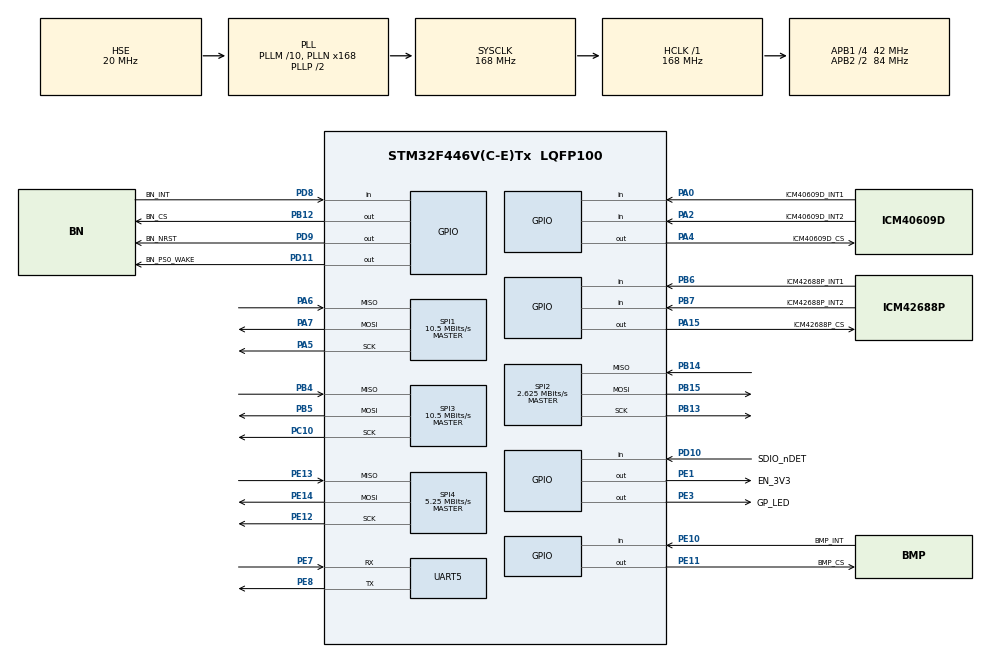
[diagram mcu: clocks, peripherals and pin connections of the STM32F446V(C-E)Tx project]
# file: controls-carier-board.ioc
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Mcu.Family=STM32F4
Mcu.Name=STM32F446V(C-E)Tx
Mcu.Package=LQFP100
NVIC.PriorityGroup=NVIC_PRIORITYGROUP_4
PA0-WKUP.GPIO_Label=ICM40609D_INT1
PA0-WKUP.Signal=GPIO_Input
PA13.Mode=Trace_Asynchronous_SW
PA13.Signal=SYS_JTMS-SWDIO
PA14.Mode=Trace_Asynchronous_SW
PA14.Signal=SYS_JTCK-SWCLK
PA15.GPIO_Label=ICM42688P_CS
PA15.Signal=GPIO_Output
PA2.GPIO_Label=ICM40609D_INT2
PA2.Signal=GPIO_Input
PA4.GPIO_Label=ICM40609D_CS
PA4.Signal=GPIO_Output
PA5.Mode=Full_Duplex_Master
PA5.Signal=SPI1_SCK
PA6.Mode=Full_Duplex_Master
PA6.Signal=SPI1_MISO
PA7.Mode=Full_Duplex_Master
PA7.Signal=SPI1_MOSI
PB1.Signal=SDIO_D2
PB12.GPIO_Label=BN_CS
PB12.GPIO_Speed=GPIO_SPEED_FREQ_VERY_HIGH
PB12.Signal=GPIO_Output
PB13.Mode=Full_Duplex_Master
PB13.Signal=SPI2_SCK
PB14.Mode=Full_Duplex_Master
PB14.Signal=SPI2_MISO
PB15.Mode=Full_Duplex_Master
PB15.Signal=SPI2_MOSI
PB2.Signal=SDIO_CK
PB3.Mode=Trace_Asynchronous_SW
PB3.Signal=SYS_JTDO-SWO
PB4.Mode=Full_Duplex_Master
PB4.Signal=SPI3_MISO
PB5.Mode=Full_Duplex_Master
PB5.Signal=SPI3_MOSI
PB6.GPIO_Label=ICM42688P_INT1
PB6.Signal=GPIO_Input
PB7.GPIO_Label=ICM42688P_INT2
PB7.Signal=GPIO_Input
PB8.Signal=CAN1_RX
PB9.Signal=CAN1_TX
PC10.Mode=Full_Duplex_Master
PC10.Signal=SPI3_SCK
PC11.Signal=SDIO_D3
PC14-OSC32_IN.Mode=LSE-External-Oscillator
PC14-OSC32_IN.Signal=RCC_OSC32_IN
PC15-OSC32_OUT.Mode=LSE-External-Oscillator
PC15-OSC32_OUT.Signal=RCC_OSC32_OUT
PC8.Signal=SDIO_D0
PC9.Signal=SDIO_D1
PD10.GPIO_Label=SDIO_nDET
PD10.Signal=GPIO_Input
PD11.GPIO_Label=BN_PS0_WAKE
PD11.GPIO_Speed=GPIO_SPEED_FREQ_VERY_HIGH
PD11.Signal=GPIO_Output
PD2.Signal=SDIO_CMD
PD8.GPIO_Label=BN_INT
PD8.GPIO_PuPd=GPIO_PULLUP
PD8.Signal=GPIO_Input
PD9.GPIO_Label=BN_NRST
PD9.GPIO_Speed=GPIO_SPEED_FREQ_VERY_HIGH
PD9.Signal=GPIO_Output
PE1.GPIO_Label=EN_3V3
PE1.GPIO_PuPd=GPIO_PULLDOWN
PE1.Signal=GPIO_Output
PE10.GPIO_Label=BMP_INT
PE10.Signal=GPIO_Input
PE11.GPIO_Label=BMP_CS
PE11.Signal=GPIO_Output
PE12.Mode=Full_Duplex_Master
PE12.Signal=SPI4_SCK
PE13.Mode=Full_Duplex_Master
PE13.Signal=SPI4_MISO
PE14.Mode=Full_Duplex_Master
PE14.Signal=SPI4_MOSI
PE3.GPIO_Label=GP_LED
PE3.Signal=GPIO_Output
PE7.Mode=Asynchronous
PE7.Signal=UART5_RX
PE8.Mode=Asynchronous
PE8.Signal=UART5_TX
PH0-OSC_IN.Mode=HSE-External-Oscillator
PH0-OSC_IN.Signal=RCC_OSC_IN
PH1-OSC_OUT.Mode=HSE-External-Oscillator
PH1-OSC_OUT.Signal=RCC_OSC_OUT
ProjectManager.HeapSize=0x400
ProjectManager.StackSize=0x800
ProjectManager.TargetToolchain=Makefile
RCC.AHBFreq_Value=168000000
RCC.APB1CLKDivider=RCC_HCLK_DIV4
RCC.APB1Freq_Value=42000000
RCC.APB1TimFreq_Value=84000000
RCC.APB2CLKDivider=RCC_HCLK_DIV2
RCC.APB2Freq_Value=84000000
RCC.APB2TimFreq_Value=168000000
RCC.CortexFreq_Value=168000000
RCC.HCLKFreq_Value=168000000
RCC.HSE_VALUE=20000000
RCC.PLLM=10
RCC.PLLN=168
RCC.PLLQ=7
RCC.PLLSourceVirtual=RCC_PLLSOURCE_HSE
RCC.SYSCLKFreq_VALUE=168000000
RCC.SYSCLKSource=RCC_SYSCLKSOURCE_PLLCLK
RCC.USBFreq_Value=48000000
RCC.VCOOutputFreq_Value=336000000
SPI1.BaudRatePrescaler=SPI_BAUDRATEPRESCALER_8
SPI1.CLKPhase=SPI_PHASE_2EDGE
SPI1.CLKPolarity=SPI_POLARITY_HIGH
SPI1.CalculateBaudRate=10.5 MBits/s
SPI1.Direction=SPI_DIRECTION_2LINES
SPI1.Mode=SPI_MODE_MASTER
SPI1.VirtualType=VM_MASTER
SPI2.BaudRatePrescaler=SPI_BAUDRATEPRESCALER_16
SPI2.CLKPhase=SPI_PHASE_2EDGE
SPI2.CLKPolarity=SPI_POLARITY_HIGH
SPI2.CalculateBaudRate=2.625 MBits/s
SPI2.Direction=SPI_DIRECTION_2LINES
SPI2.Mode=SPI_MODE_MASTER
SPI2.VirtualType=VM_MASTER
SPI3.BaudRatePrescaler=SPI_BAUDRATEPRESCALER_4
SPI3.CLKPhase=SPI_PHASE_2EDGE
SPI3.CLKPolarity=SPI_POLARITY_HIGH
SPI3.CalculateBaudRate=10.5 MBits/s
SPI3.Direction=SPI_DIRECTION_2LINES
SPI3.Mode=SPI_MODE_MASTER
SPI3.VirtualType=VM_MASTER
SPI4.BaudRatePrescaler=SPI_BAUDRATEPRESCALER_16
SPI4.CLKPhase=SPI_PHASE_2EDGE
SPI4.CLKPolarity=SPI_POLARITY_HIGH
SPI4.CalculateBaudRate=5.25 MBits/s
SPI4.Direction=SPI_DIRECTION_2LINES
SPI4.Mode=SPI_MODE_MASTER
SPI4.VirtualType=VM_MASTER
UART5.VirtualMode=Asynchronous
board=custom

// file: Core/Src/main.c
/* USER CODE BEGIN Header */
/**
  ******************************************************************************
  * @file           : main.c
  * @brief          : Main program body
  ******************************************************************************
  * @attention
  *
  * Copyright (c) 2024 STMicroelectronics.
  * All rights reserved.
  *
  * This software is licensed under terms that can be found in the LICENSE file
  * in the root directory of this software component.
  * If no LICENSE file comes with this software, it is provided AS-IS.
  *
  ******************************************************************************
  */
/* USER CODE END Header */
#include "main.h"

/* USER CODE BEGIN Includes */
#include <printf.h>
#include "icm42688p.h"
#include "icm40609d.h"
#include "icm_driver.h"
/* USER CODE END Includes */

UART_HandleTypeDef huart5;

/* USER CODE BEGIN PV */
float roll, pitch, yaw;
ICM_Config_t icm40609d_cfg = {
  .id = ICM40609D_ID,
  .hal.spi = SPI1,
  .hal.csPort = ICM40609D_CS_GPIO_Port,
  .hal.csPin = ICM40609D_CS_Pin,
  .hal.int1Port = ICM40609D_INT1_GPIO_Port,
  .hal.int1Pin = ICM40609D_INT1_Pin,
  .hal.int2Port = ICM40609D_INT2_GPIO_Port,
  .hal.int2Pin = ICM40609D_INT2_Pin,
};

ICM_Config_t icm42688p_cfg = {
  .id = ICM42688P_ID,
  .hal.spi = SPI3,
  .hal.csPort = ICM42688P_CS_GPIO_Port,
  .hal.csPin = ICM42688P_CS_Pin,
  .hal.int1Port = ICM42688P_INT1_GPIO_Port,
  .hal.int1Pin = ICM42688P_INT1_Pin,
  .hal.int2Port = ICM42688P_INT2_GPIO_Port,
  .hal.int2Pin = ICM42688P_INT2_Pin,
};
/* USER CODE END PV */

void SystemClock_Config(void);
static void MX_GPIO_Init(void);
static void MX_UART5_Init(void);
static void MX_SPI1_Init(void);
static void MX_SPI2_Init(void);
static void MX_SPI3_Init(void);
static void MX_SPI4_Init(void);
/* USER CODE BEGIN PFP */
void sendCsv(ICM_Config_t *icm);
void sendVerbose(ICM_Config_t* icm);
/* USER CODE END PFP */

int main(void)
{

  /* MCU Configuration--------------------------------------------------------*/

  /* Reset of all peripherals, Initializes the Flash interface and the Systick. */
  HAL_Init();

  /* Configure the system clock */
  SystemClock_Config();

  /* Initialize all configured peripherals */
  MX_GPIO_Init();
  MX_UART5_Init();
  MX_SPI1_Init();
  MX_SPI2_Init();
  MX_SPI3_Init();
  MX_SPI4_Init();
  /* USER CODE BEGIN 2 */

  printf(PF_SWO, "UART Retarget working.\r\n");

  /* Turns on power to the sensor board */
  LL_GPIO_SetOutputPin(EN_3V3_GPIO_Port, EN_3V3_Pin);

  uint8_t ret = ICM_init(&icm42688p_cfg);
  ret |= ICM_init(&icm40609d_cfg);

  if (ret != ICM_OK) {
    printf(PF_SWO, "ICM init failed\r\n");
    Error_Handler();
  }
  else
  {
    printf(PF_SWO, "ICM init completed\r\n");
  }

  ICM_calibGyro(&icm42688p_cfg);
  ICM_calibGyro(&icm40609d_cfg);
  // printf(PF_DEF, "688 Gyro Bias X Y Z: %0.2f %0.2f %0.2f\r\n", ICM_getGyroBiasX(&icm42688p_cfg), ICM_getGyroBiasY(&icm42688p_cfg), ICM_getGyroBiasZ(&icm42688p_cfg));
  // printf(PF_DEF, "609 Gyro Bias X Y Z: %0.2f %0.2f %0.2f\r\n", ICM_getGyroBiasX(&icm40609d_cfg), ICM_getGyroBiasY(&icm40609d_cfg), ICM_getGyroBiasZ(&icm40609d_cfg));

  /* USER CODE END 2 */

  /* Infinite loop */
  while (1)
  {

    /* USER CODE BEGIN 3 */
    ICM_updateAllData(&icm42688p_cfg);
    sendCsv(&icm42688p_cfg);
    HAL_Delay(150);
  }
  /* USER CODE END 3 */
}

void SystemClock_Config(void)
{
  RCC_OscInitTypeDef RCC_OscInitStruct = {0};
  RCC_ClkInitTypeDef RCC_ClkInitStruct = {0};

  /** Configure the main internal regulator output voltage
  */
  __HAL_RCC_PWR_CLK_ENABLE();
  __HAL_PWR_VOLTAGESCALING_CONFIG(PWR_REGULATOR_VOLTAGE_SCALE1);

  /** Initializes the RCC Oscillators according to the specified parameters
  * in the RCC_OscInitTypeDef structure.
  */
  RCC_OscInitStruct.OscillatorType = RCC_OSCILLATORTYPE_HSE;
  RCC_OscInitStruct.HSEState = RCC_HSE_ON;
  RCC_OscInitStruct.PLL.PLLState = RCC_PLL_ON;
  RCC_OscInitStruct.PLL.PLLSource = RCC_PLLSOURCE_HSE;
  RCC_OscInitStruct.PLL.PLLM = 10;
  RCC_OscInitStruct.PLL.PLLN = 168;
  RCC_OscInitStruct.PLL.PLLP = RCC_PLLP_DIV2;
  RCC_OscInitStruct.PLL.PLLQ = 7;
  RCC_OscInitStruct.PLL.PLLR = 2;
  if (HAL_RCC_OscConfig(&RCC_OscInitStruct) != HAL_OK)
  {
    Error_Handler();
  }

  /** Initializes the CPU, AHB and APB buses clocks
  */
  RCC_ClkInitStruct.ClockType = RCC_CLOCKTYPE_HCLK|RCC_CLOCKTYPE_SYSCLK
                              |RCC_CLOCKTYPE_PCLK1|RCC_CLOCKTYPE_PCLK2;
  RCC_ClkInitStruct.SYSCLKSource = RCC_SYSCLKSOURCE_PLLCLK;
  RCC_ClkInitStruct.AHBCLKDivider = RCC_SYSCLK_DIV1;
  RCC_ClkInitStruct.APB1CLKDivider = RCC_HCLK_DIV4;
  RCC_ClkInitStruct.APB2CLKDivider = RCC_HCLK_DIV2;

  if (HAL_RCC_ClockConfig(&RCC_ClkInitStruct, FLASH_LATENCY_5) != HAL_OK)
  {
    Error_Handler();
  }
}

static void MX_SPI1_Init(void)
{

  LL_SPI_InitTypeDef SPI_InitStruct = {0};

  LL_GPIO_InitTypeDef GPIO_InitStruct = {0};

  /* Peripheral clock enable */
  LL_APB2_GRP1_EnableClock(LL_APB2_GRP1_PERIPH_SPI1);

  LL_AHB1_GRP1_EnableClock(LL_AHB1_GRP1_PERIPH_GPIOA);
  /**SPI1 GPIO Configuration
  PA5   ------> SPI1_SCK
  PA6   ------> SPI1_MISO
  PA7   ------> SPI1_MOSI
  */
  GPIO_InitStruct.Pin = LL_GPIO_PIN_5|LL_GPIO_PIN_6|LL_GPIO_PIN_7;
  GPIO_InitStruct.Mode = LL_GPIO_MODE_ALTERNATE;
  GPIO_InitStruct.Speed = LL_GPIO_SPEED_FREQ_VERY_HIGH;
  GPIO_InitStruct.OutputType = LL_GPIO_OUTPUT_PUSHPULL;
  GPIO_InitStruct.Pull = LL_GPIO_PULL_NO;
  GPIO_InitStruct.Alternate = LL_GPIO_AF_5;
  LL_GPIO_Init(GPIOA, &GPIO_InitStruct);

  /* SPI1 parameter configuration*/
  SPI_InitStruct.TransferDirection = LL_SPI_FULL_DUPLEX;
  SPI_InitStruct.Mode = LL_SPI_MODE_MASTER;
  SPI_InitStruct.DataWidth = LL_SPI_DATAWIDTH_8BIT;
  SPI_InitStruct.ClockPolarity = LL_SPI_POLARITY_HIGH;
  SPI_InitStruct.ClockPhase = LL_SPI_PHASE_2EDGE;
  SPI_InitStruct.NSS = LL_SPI_NSS_SOFT;
  SPI_InitStruct.BaudRate = LL_SPI_BAUDRATEPRESCALER_DIV8;
  SPI_InitStruct.BitOrder = LL_SPI_MSB_FIRST;
  SPI_InitStruct.CRCCalculation = LL_SPI_CRCCALCULATION_DISABLE;
  SPI_InitStruct.CRCPoly = 10;
  LL_SPI_Init(SPI1, &SPI_InitStruct);
  LL_SPI_SetStandard(SPI1, LL_SPI_PROTOCOL_MOTOROLA);
  /* USER CODE BEGIN SPI1_Init 2 */
  LL_SPI_Enable(SPI1);
  /* USER CODE END SPI1_Init 2 */

}

static void MX_SPI2_Init(void)
{

  LL_SPI_InitTypeDef SPI_InitStruct = {0};

  LL_GPIO_InitTypeDef GPIO_InitStruct = {0};

  /* Peripheral clock enable */
  LL_APB1_GRP1_EnableClock(LL_APB1_GRP1_PERIPH_SPI2);

  LL_AHB1_GRP1_EnableClock(LL_AHB1_GRP1_PERIPH_GPIOB);
  /**SPI2 GPIO Configuration
  PB13   ------> SPI2_SCK
  PB14   ------> SPI2_MISO
  PB15   ------> SPI2_MOSI
  */
  GPIO_InitStruct.Pin = LL_GPIO_PIN_13|LL_GPIO_PIN_14|LL_GPIO_PIN_15;
  GPIO_InitStruct.Mode = LL_GPIO_MODE_ALTERNATE;
  GPIO_InitStruct.Speed = LL_GPIO_SPEED_FREQ_VERY_HIGH;
  GPIO_InitStruct.OutputType = LL_GPIO_OUTPUT_PUSHPULL;
  GPIO_InitStruct.Pull = LL_GPIO_PULL_NO;
  GPIO_InitStruct.Alternate = LL_GPIO_AF_5;
  LL_GPIO_Init(GPIOB, &GPIO_InitStruct);

  /* SPI2 parameter configuration*/
  SPI_InitStruct.TransferDirection = LL_SPI_FULL_DUPLEX;
  SPI_InitStruct.Mode = LL_SPI_MODE_MASTER;
  SPI_InitStruct.DataWidth = LL_SPI_DATAWIDTH_8BIT;
  SPI_InitStruct.ClockPolarity = LL_SPI_POLARITY_HIGH;
  SPI_InitStruct.ClockPhase = LL_SPI_PHASE_2EDGE;
  SPI_InitStruct.NSS = LL_SPI_NSS_SOFT;
  SPI_InitStruct.BaudRate = LL_SPI_BAUDRATEPRESCALER_DIV16;
  SPI_InitStruct.BitOrder = LL_SPI_MSB_FIRST;
  SPI_InitStruct.CRCCalculation = LL_SPI_CRCCALCULATION_DISABLE;
  SPI_InitStruct.CRCPoly = 10;
  LL_SPI_Init(SPI2, &SPI_InitStruct);
  LL_SPI_SetStandard(SPI2, LL_SPI_PROTOCOL_MOTOROLA);
  /* USER CODE BEGIN SPI2_Init 2 */
  LL_SPI_Enable(SPI2);
  /* USER CODE END SPI2_Init 2 */

}

static void MX_SPI3_Init(void)
{

  LL_SPI_InitTypeDef SPI_InitStruct = {0};

  LL_GPIO_InitTypeDef GPIO_InitStruct = {0};

  /* Peripheral clock enable */
  LL_APB1_GRP1_EnableClock(LL_APB1_GRP1_PERIPH_SPI3);

  LL_AHB1_GRP1_EnableClock(LL_AHB1_GRP1_PERIPH_GPIOC);
  LL_AHB1_GRP1_EnableClock(LL_AHB1_GRP1_PERIPH_GPIOB);
  /**SPI3 GPIO Configuration
  PC10   ------> SPI3_SCK
  PB4   ------> SPI3_MISO
  PB5   ------> SPI3_MOSI
  */
  GPIO_InitStruct.Pin = LL_GPIO_PIN_10;
  GPIO_InitStruct.Mode = LL_GPIO_MODE_ALTERNATE;
  GPIO_InitStruct.Speed = LL_GPIO_SPEED_FREQ_VERY_HIGH;
  GPIO_InitStruct.OutputType = LL_GPIO_OUTPUT_PUSHPULL;
  GPIO_InitStruct.Pull = LL_GPIO_PULL_NO;
  GPIO_InitStruct.Alternate = LL_GPIO_AF_6;
  LL_GPIO_Init(GPIOC, &GPIO_InitStruct);

  GPIO_InitStruct.Pin = LL_GPIO_PIN_4|LL_GPIO_PIN_5;
  GPIO_InitStruct.Mode = LL_GPIO_MODE_ALTERNATE;
  GPIO_InitStruct.Speed = LL_GPIO_SPEED_FREQ_VERY_HIGH;
  GPIO_InitStruct.OutputType = LL_GPIO_OUTPUT_PUSHPULL;
  GPIO_InitStruct.Pull = LL_GPIO_PULL_NO;
  GPIO_InitStruct.Alternate = LL_GPIO_AF_6;
  LL_GPIO_Init(GPIOB, &GPIO_InitStruct);

  /* SPI3 parameter configuration*/
  SPI_InitStruct.TransferDirection = LL_SPI_FULL_DUPLEX;
  SPI_InitStruct.Mode = LL_SPI_MODE_MASTER;
  SPI_InitStruct.DataWidth = LL_SPI_DATAWIDTH_8BIT;
  SPI_InitStruct.ClockPolarity = LL_SPI_POLARITY_HIGH;
  SPI_InitStruct.ClockPhase = LL_SPI_PHASE_2EDGE;
  SPI_InitStruct.NSS = LL_SPI_NSS_SOFT;
  SPI_InitStruct.BaudRate = LL_SPI_BAUDRATEPRESCALER_DIV4;
  SPI_InitStruct.BitOrder = LL_SPI_MSB_FIRST;
  SPI_InitStruct.CRCCalculation = LL_SPI_CRCCALCULATION_DISABLE;
  SPI_InitStruct.CRCPoly = 10;
  LL_SPI_Init(SPI3, &SPI_InitStruct);
  LL_SPI_SetStandard(SPI3, LL_SPI_PROTOCOL_MOTOROLA);
  /* USER CODE BEGIN SPI3_Init 2 */
  LL_SPI_Enable(SPI3);
  /* USER CODE END SPI3_Init 2 */

}

static void MX_SPI4_Init(void)
{

  LL_SPI_InitTypeDef SPI_InitStruct = {0};

  LL_GPIO_InitTypeDef GPIO_InitStruct = {0};

  /* Peripheral clock enable */
  LL_APB2_GRP1_EnableClock(LL_APB2_GRP1_PERIPH_SPI4);

  LL_AHB1_GRP1_EnableClock(LL_AHB1_GRP1_PERIPH_GPIOE);
  /**SPI4 GPIO Configuration
  PE12   ------> SPI4_SCK
  PE13   ------> SPI4_MISO
  PE14   ------> SPI4_MOSI
  */
  GPIO_InitStruct.Pin = LL_GPIO_PIN_12|LL_GPIO_PIN_13|LL_GPIO_PIN_14;
  GPIO_InitStruct.Mode = LL_GPIO_MODE_ALTERNATE;
  GPIO_InitStruct.Speed = LL_GPIO_SPEED_FREQ_VERY_HIGH;
  GPIO_InitStruct.OutputType = LL_GPIO_OUTPUT_PUSHPULL;
  GPIO_InitStruct.Pull = LL_GPIO_PULL_NO;
  GPIO_InitStruct.Alternate = LL_GPIO_AF_5;
  LL_GPIO_Init(GPIOE, &GPIO_InitStruct);

  /* SPI4 parameter configuration*/
  SPI_InitStruct.TransferDirection = LL_SPI_FULL_DUPLEX;
  SPI_InitStruct.Mode = LL_SPI_MODE_MASTER;
  SPI_InitStruct.DataWidth = LL_SPI_DATAWIDTH_8BIT;
  SPI_InitStruct.ClockPolarity = LL_SPI_POLARITY_HIGH;
  SPI_InitStruct.ClockPhase = LL_SPI_PHASE_2EDGE;
  SPI_InitStruct.NSS = LL_SPI_NSS_SOFT;
  SPI_InitStruct.BaudRate = LL_SPI_BAUDRATEPRESCALER_DIV16;
  SPI_InitStruct.BitOrder = LL_SPI_MSB_FIRST;
  SPI_InitStruct.CRCCalculation = LL_SPI_CRCCALCULATION_DISABLE;
  SPI_InitStruct.CRCPoly = 10;
  LL_SPI_Init(SPI4, &SPI_InitStruct);
  LL_SPI_SetStandard(SPI4, LL_SPI_PROTOCOL_MOTOROLA);

}

static void MX_UART5_Init(void)
{

  huart5.Instance = UART5;
  huart5.Init.BaudRate = 115200;
  huart5.Init.WordLength = UART_WORDLENGTH_8B;
  huart5.Init.StopBits = UART_STOPBITS_1;
  huart5.Init.Parity = UART_PARITY_NONE;
  huart5.Init.Mode = UART_MODE_TX_RX;
  huart5.Init.HwFlowCtl = UART_HWCONTROL_NONE;
  huart5.Init.OverSampling = UART_OVERSAMPLING_16;
  if (HAL_UART_Init(&huart5) != HAL_OK)
  {
    Error_Handler();
  }

}

static void MX_GPIO_Init(void)
{
  LL_GPIO_InitTypeDef GPIO_InitStruct = {0};

  /* GPIO Ports Clock Enable */
  LL_AHB1_GRP1_EnableClock(LL_AHB1_GRP1_PERIPH_GPIOE);
  LL_AHB1_GRP1_EnableClock(LL_AHB1_GRP1_PERIPH_GPIOC);
  LL_AHB1_GRP1_EnableClock(LL_AHB1_GRP1_PERIPH_GPIOH);
  LL_AHB1_GRP1_EnableClock(LL_AHB1_GRP1_PERIPH_GPIOA);
  LL_AHB1_GRP1_EnableClock(LL_AHB1_GRP1_PERIPH_GPIOB);
  LL_AHB1_GRP1_EnableClock(LL_AHB1_GRP1_PERIPH_GPIOD);

  /**/
  LL_GPIO_ResetOutputPin(GPIOE, GP_LED_Pin|BMP_CS_Pin|EN_3V3_Pin);

  /**/
  LL_GPIO_ResetOutputPin(GPIOA, ICM40609D_CS_Pin|ICM42688P_CS_Pin);

  /**/
  LL_GPIO_ResetOutputPin(BN_CS_GPIO_Port, BN_CS_Pin);

  /**/
  LL_GPIO_ResetOutputPin(GPIOD, BN_NRST_Pin|BN_PS0_WAKE_Pin);

  /**/
  GPIO_InitStruct.Pin = GP_LED_Pin|BMP_CS_Pin;
  GPIO_InitStruct.Mode = LL_GPIO_MODE_OUTPUT;
  GPIO_InitStruct.Speed = LL_GPIO_SPEED_FREQ_LOW;
  GPIO_InitStruct.OutputType = LL_GPIO_OUTPUT_PUSHPULL;
  GPIO_InitStruct.Pull = LL_GPIO_PULL_NO;
  LL_GPIO_Init(GPIOE, &GPIO_InitStruct);

  /**/
  GPIO_InitStruct.Pin = ICM40609D_INT1_Pin|ICM40609D_INT2_Pin;
  GPIO_InitStruct.Mode = LL_GPIO_MODE_INPUT;
  GPIO_InitStruct.Pull = LL_GPIO_PULL_NO;
  LL_GPIO_Init(GPIOA, &GPIO_InitStruct);

  /**/
  GPIO_InitStruct.Pin = ICM40609D_CS_Pin|ICM42688P_CS_Pin;
  GPIO_InitStruct.Mode = LL_GPIO_MODE_OUTPUT;
  GPIO_InitStruct.Speed = LL_GPIO_SPEED_FREQ_LOW;
  GPIO_InitStruct.OutputType = LL_GPIO_OUTPUT_PUSHPULL;
  GPIO_InitStruct.Pull = LL_GPIO_PULL_NO;
  LL_GPIO_Init(GPIOA, &GPIO_InitStruct);

  /**/
  GPIO_InitStruct.Pin = LL_GPIO_PIN_1|LL_GPIO_PIN_2;
  GPIO_InitStruct.Mode = LL_GPIO_MODE_ALTERNATE;
  GPIO_InitStruct.Speed = LL_GPIO_SPEED_FREQ_VERY_HIGH;
  GPIO_InitStruct.OutputType = LL_GPIO_OUTPUT_PUSHPULL;
  GPIO_InitStruct.Pull = LL_GPIO_PULL_NO;
  GPIO_InitStruct.Alternate = LL_GPIO_AF_12;
  LL_GPIO_Init(GPIOB, &GPIO_InitStruct);

  /**/
  GPIO_InitStruct.Pin = BMP_INT_Pin;
  GPIO_InitStruct.Mode = LL_GPIO_MODE_INPUT;
  GPIO_InitStruct.Pull = LL_GPIO_PULL_NO;
  LL_GPIO_Init(BMP_INT_GPIO_Port, &GPIO_InitStruct);

  /**/
  GPIO_InitStruct.Pin = BN_CS_Pin;
  GPIO_InitStruct.Mode = LL_GPIO_MODE_OUTPUT;
  GPIO_InitStruct.Speed = LL_GPIO_SPEED_FREQ_VERY_HIGH;
  GPIO_InitStruct.OutputType = LL_GPIO_OUTPUT_PUSHPULL;
  GPIO_InitStruct.Pull = LL_GPIO_PULL_NO;
  LL_GPIO_Init(BN_CS_GPIO_Port, &GPIO_InitStruct);

  /**/
  GPIO_InitStruct.Pin = BN_INT_Pin;
  GPIO_InitStruct.Mode = LL_GPIO_MODE_INPUT;
  GPIO_InitStruct.Pull = LL_GPIO_PULL_UP;
  LL_GPIO_Init(BN_INT_GPIO_Port, &GPIO_InitStruct);

  /**/
  GPIO_InitStruct.Pin = BN_NRST_Pin|BN_PS0_WAKE_Pin;
  GPIO_InitStruct.Mode = LL_GPIO_MODE_OUTPUT;
  GPIO_InitStruct.Speed = LL_GPIO_SPEED_FREQ_VERY_HIGH;
  GPIO_InitStruct.OutputType = LL_GPIO_OUTPUT_PUSHPULL;
  GPIO_InitStruct.Pull = LL_GPIO_PULL_NO;
  LL_GPIO_Init(GPIOD, &GPIO_InitStruct);

  /**/
  GPIO_InitStruct.Pin = SDIO_nDET_Pin;
  GPIO_InitStruct.Mode = LL_GPIO_MODE_INPUT;
  GPIO_InitStruct.Pull = LL_GPIO_PULL_NO;
  LL_GPIO_Init(SDIO_nDET_GPIO_Port, &GPIO_InitStruct);

  /**/
  GPIO_InitStruct.Pin = LL_GPIO_PIN_8|LL_GPIO_PIN_9|LL_GPIO_PIN_11;
  GPIO_InitStruct.Mode = LL_GPIO_MODE_ALTERNATE;
  GPIO_InitStruct.Speed = LL_GPIO_SPEED_FREQ_VERY_HIGH;
  GPIO_InitStruct.OutputType = LL_GPIO_OUTPUT_PUSHPULL;
  GPIO_InitStruct.Pull = LL_GPIO_PULL_NO;
  GPIO_InitStruct.Alternate = LL_GPIO_AF_12;
  LL_GPIO_Init(GPIOC, &GPIO_InitStruct);

  /**/
  GPIO_InitStruct.Pin = LL_GPIO_PIN_2;
  GPIO_InitStruct.Mode = LL_GPIO_MODE_ALTERNATE;
  GPIO_InitStruct.Speed = LL_GPIO_SPEED_FREQ_VERY_HIGH;
  GPIO_InitStruct.OutputType = LL_GPIO_OUTPUT_PUSHPULL;
  GPIO_InitStruct.Pull = LL_GPIO_PULL_NO;
  GPIO_InitStruct.Alternate = LL_GPIO_AF_12;
  LL_GPIO_Init(GPIOD, &GPIO_InitStruct);

  /**/
  GPIO_InitStruct.Pin = ICM42688P_INT1_Pin|ICM42688P_INT2_Pin;
  GPIO_InitStruct.Mode = LL_GPIO_MODE_INPUT;
  GPIO_InitStruct.Pull = LL_GPIO_PULL_NO;
  LL_GPIO_Init(GPIOB, &GPIO_InitStruct);

  /**/
  GPIO_InitStruct.Pin = LL_GPIO_PIN_8|LL_GPIO_PIN_9;
  GPIO_InitStruct.Mode = LL_GPIO_MODE_ALTERNATE;
  GPIO_InitStruct.Speed = LL_GPIO_SPEED_FREQ_VERY_HIGH;
  GPIO_InitStruct.OutputType = LL_GPIO_OUTPUT_PUSHPULL;
  GPIO_InitStruct.Pull = LL_GPIO_PULL_NO;
  GPIO_InitStruct.Alternate = LL_GPIO_AF_9;
  LL_GPIO_Init(GPIOB, &GPIO_InitStruct);

  /**/
  GPIO_InitStruct.Pin = EN_3V3_Pin;
  GPIO_InitStruct.Mode = LL_GPIO_MODE_OUTPUT;
  GPIO_InitStruct.Speed = LL_GPIO_SPEED_FREQ_LOW;
  GPIO_InitStruct.OutputType = LL_GPIO_OUTPUT_PUSHPULL;
  GPIO_InitStruct.Pull = LL_GPIO_PULL_DOWN;
  LL_GPIO_Init(EN_3V3_GPIO_Port, &GPIO_InitStruct);

/* USER CODE BEGIN MX_GPIO_Init_2 */
// Pull all CS pin High
LL_GPIO_SetOutputPin(ICM40609D_CS_GPIO_Port, ICM40609D_CS_Pin);
LL_GPIO_SetOutputPin(ICM42688P_CS_GPIO_Port, ICM42688P_CS_Pin);
LL_GPIO_SetOutputPin(BN_CS_GPIO_Port, BN_CS_Pin);
LL_GPIO_SetOutputPin(BMP_CS_GPIO_Port, BMP_CS_Pin);

// BNO08x specific
LL_GPIO_SetOutputPin(BN_NRST_GPIO_Port, BN_NRST_Pin);
LL_GPIO_SetOutputPin(BN_PS0_WAKE_GPIO_Port, BN_PS0_WAKE_Pin);

/* USER CODE END MX_GPIO_Init_2 */
}

/* USER CODE BEGIN 4 */
void sendCsv(ICM_Config_t *icm)
{
  float ax, ay, az, gx, gy, gz, temp;
  ax = ICM_getAccX(icm);
  ay = ICM_getAccY(icm);
  az = ICM_getAccZ(icm);
  gx = ICM_getGyroX(icm);
  gy = ICM_getGyroY(icm);
  gz = ICM_getGyroZ(icm);
  temp = ICM_getTemp(icm);

  printf(PF_DEF, "%d,%.04f,%.04f,%.04f,%.04f,%.04f,%.04f\r", (int)temp, ax, ay, az, gx, gy, gz);
}

void sendVerbose(ICM_Config_t* icm)
{
    printf(PF_DEF, "DEV: 0x%H\r\n", icm->id);
    printf(PF_DEF, "\tTemp: %d\r\n", (int)ICM_getTemp(icm));
    printf(PF_DEF, "\taccelX: %.02f ", ICM_getAccX(icm));
    printf(PF_DEF, "\taccelY: %.02f ", ICM_getAccY(icm));
    printf(PF_DEF, "\taccelZ: %.02f\r\n", ICM_getAccZ(icm));
    printf(PF_DEF, "\tGyroX: %.02f ", ICM_getGyroX(icm));
    printf(PF_DEF, "\tGyroY: %.02f ", ICM_getGyroY(icm));
    printf(PF_DEF, "\tGyroZ: %.02f\r\n", ICM_getGyroZ(icm));
}

/**
 * @brief For printf Library submodule.
 *
 * @param character
 */
void _putchar(char character)
{
  HAL_UART_Transmit(&huart5, (const uint8_t*) &character, 1, 10);
}

/**
 * @brief For printf Library submodule. For SWO purposes
 *
 * @param character
 */
void _putchar_swo(char character)
{
  ITM_SendChar(character);
}

/* USER CODE END 4 */

void Error_Handler(void)
{
  __disable_irq();
  while (1)
  {
  }
}
